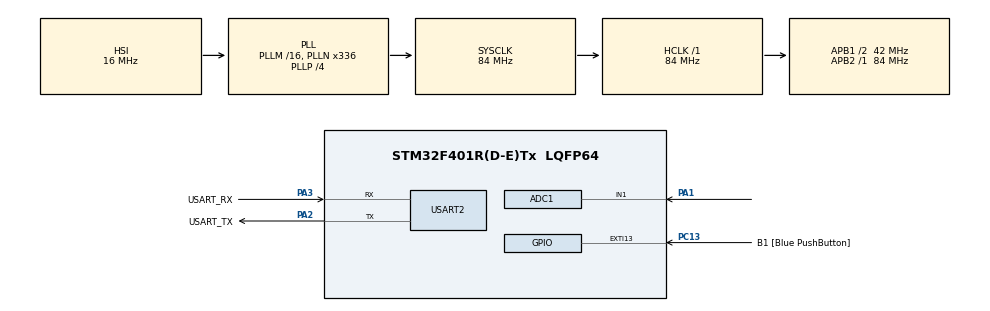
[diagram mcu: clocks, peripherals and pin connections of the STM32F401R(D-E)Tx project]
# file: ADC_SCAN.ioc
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ADC1.Channel-0\#ChannelRegularConversion=ADC_CHANNEL_1
ADC1.Channel-1\#ChannelRegularConversion=ADC_CHANNEL_TEMPSENSOR
ADC1.Channel-2\#ChannelRegularConversion=ADC_CHANNEL_VREFINT
ADC1.ContinuousConvMode=ENABLE
ADC1.DMAContinuousRequests=ENABLE
ADC1.ExternalTrigConv=ADC_EXTERNALTRIGCONV_T3_TRGO
ADC1.InjNumberOfConversion=0
ADC1.NbrOfConversion=3
ADC1.NbrOfConversionFlag=1
ADC1.Rank-0\#ChannelRegularConversion=1
ADC1.Rank-1\#ChannelRegularConversion=2
ADC1.Rank-2\#ChannelRegularConversion=3
ADC1.SamplingTime-0\#ChannelRegularConversion=ADC_SAMPLETIME_480CYCLES
ADC1.SamplingTime-1\#ChannelRegularConversion=ADC_SAMPLETIME_480CYCLES
ADC1.SamplingTime-2\#ChannelRegularConversion=ADC_SAMPLETIME_480CYCLES
ADC1.ScanConvMode=ENABLE
ADC1.master=1
Dma.ADC1.0.Direction=DMA_PERIPH_TO_MEMORY
Dma.ADC1.0.FIFOMode=DMA_FIFOMODE_DISABLE
Dma.ADC1.0.Instance=DMA2_Stream0
Dma.ADC1.0.MemDataAlignment=DMA_MDATAALIGN_HALFWORD
Dma.ADC1.0.MemInc=DMA_MINC_ENABLE
Dma.ADC1.0.Mode=DMA_CIRCULAR
Dma.ADC1.0.PeriphDataAlignment=DMA_PDATAALIGN_HALFWORD
Dma.ADC1.0.PeriphInc=DMA_PINC_DISABLE
Dma.ADC1.0.Priority=DMA_PRIORITY_LOW
Dma.Request0=ADC1
Mcu.Family=STM32F4
Mcu.Name=STM32F401R(D-E)Tx
Mcu.Package=LQFP64
NVIC.ADC_IRQn=true\:0\:0\:false\:false\:true\:true\:true\:true
NVIC.DMA2_Stream0_IRQn=true\:0\:0\:false\:false\:true\:false\:true\:true
NVIC.PriorityGroup=NVIC_PRIORITYGROUP_4
NVIC.USART2_IRQn=true\:0\:0\:false\:false\:true\:true\:true\:true
PA1.Signal=ADCx_IN1
PA13.GPIO_Label=TMS
PA13.Mode=Trace_Asynchronous_SW
PA13.Signal=SYS_JTMS-SWDIO
PA14.GPIO_Label=TCK
PA14.Mode=Trace_Asynchronous_SW
PA14.Signal=SYS_JTCK-SWCLK
PA2.GPIO_Label=USART_TX
PA2.GPIO_Mode=GPIO_MODE_AF_PP
PA2.GPIO_PuPd=GPIO_NOPULL
PA2.GPIO_Speed=GPIO_SPEED_FREQ_LOW
PA2.Mode=Asynchronous
PA2.Signal=USART2_TX
PA3.GPIO_Label=USART_RX
PA3.GPIO_Mode=GPIO_MODE_AF_PP
PA3.GPIO_PuPd=GPIO_NOPULL
PA3.GPIO_Speed=GPIO_SPEED_FREQ_LOW
PA3.Mode=Asynchronous
PA3.Signal=USART2_RX
PB3.GPIO_Label=SWO
PB3.Mode=Trace_Asynchronous_SW
PB3.Signal=SYS_JTDO-SWO
PC13-ANTI_TAMP.GPIO_Label=B1 [Blue PushButton]
PC13-ANTI_TAMP.GPIO_ModeDefaultEXTI=GPIO_MODE_IT_FALLING
PC13-ANTI_TAMP.GPIO_PuPd=GPIO_NOPULL
PC13-ANTI_TAMP.Signal=GPXTI13
PC14-OSC32_IN.Mode=LSE-External-Oscillator
PC14-OSC32_IN.Signal=RCC_OSC32_IN
PC15-OSC32_OUT.Mode=LSE-External-Oscillator
PC15-OSC32_OUT.Signal=RCC_OSC32_OUT
PH0\ -\ OSC_IN.Mode=HSE-External-Clock-Source
PH0\ -\ OSC_IN.Signal=RCC_OSC_IN
PH1\ -\ OSC_OUT.Mode=HSE-External-Clock-Source
PH1\ -\ OSC_OUT.Signal=RCC_OSC_OUT
ProjectManager.HeapSize=0x200
ProjectManager.StackSize=0x400
ProjectManager.TargetToolchain=STM32CubeIDE
RCC.48MHZClocksFreq_Value=48000000
RCC.AHBFreq_Value=84000000
RCC.APB1CLKDivider=RCC_HCLK_DIV2
RCC.APB1Freq_Value=42000000
RCC.APB1TimFreq_Value=84000000
RCC.APB2Freq_Value=84000000
RCC.APB2TimFreq_Value=84000000
RCC.CortexFreq_Value=84000000
RCC.HCLKFreq_Value=84000000
RCC.HSE_VALUE=8000000
RCC.HSI_VALUE=16000000
RCC.PLLN=336
RCC.PLLP=RCC_PLLP_DIV4
RCC.PLLQ=7
RCC.SYSCLKFreq_VALUE=84000000
RCC.SYSCLKSource=RCC_SYSCLKSOURCE_PLLCLK
RCC.VCOOutputFreq_Value=336000000
SH.ADCx_IN1.0=ADC1_IN1,IN1
TIM3.Period=9999
TIM3.Prescaler=8399
TIM3.TIM_MasterOutputTrigger=TIM_TRGO_UPDATE
USART2.VirtualMode=VM_ASYNC
VP_ADC1_TempSens_Input.Mode=IN-TempSens
VP_ADC1_Vref_Input.Mode=IN-Vrefint
VP_TIM3_VS_ClockSourceINT.Mode=Internal
board=NUCLEO-F401RE

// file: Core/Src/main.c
/* USER CODE BEGIN Header */
/**
  ******************************************************************************
  * @file           : main.c
  * @brief          : Main program body
  ******************************************************************************
  * @attention
  *
  * Copyright (c) 2025 STMicroelectronics.
  * All rights reserved.
  *
  * This software is licensed under terms that can be found in the LICENSE file
  * in the root directory of this software component.
  * If no LICENSE file comes with this software, it is provided AS-IS.
  *
  ******************************************************************************
  */
/* USER CODE END Header */
#include "main.h"

/* USER CODE BEGIN Includes */
#include <string.h>
#include "stdio.h"
/* USER CODE END Includes */

/* USER CODE BEGIN PD */
#define ACQUISITIONS 3
#define VDDA 3.3
#define VSSA 0
#define RESOLUTION_BITS 12
#define V25 0.76
#define AVG_SLOPE 0.0025

/* USER CODE END PD */

ADC_HandleTypeDef hadc1;
DMA_HandleTypeDef hdma_adc1;

TIM_HandleTypeDef htim3;

UART_HandleTypeDef huart2;

void SystemClock_Config(void);
static void MX_GPIO_Init(void);
static void MX_DMA_Init(void);
static void MX_USART2_UART_Init(void);
static void MX_ADC1_Init(void);
static void MX_TIM3_Init(void);

/* USER CODE BEGIN 0 */
float FSR;

float RESOLUTION_STEP;
uint16_t voltages[ACQUISITIONS];

void HAL_ADC_ConvCpltCallback(ADC_HandleTypeDef* hadc)
{
    // Calculations are correct assuming Vref is VDDA/FSR for all conversions
    float vpot = voltages[0]*VDDA/RESOLUTION_STEP;
    float vtemp = ((voltages[1]*FSR/RESOLUTION_STEP)-V25)/AVG_SLOPE +25 ;
    float vrefint = voltages[2]*FSR/RESOLUTION_STEP;

    static char string[74];
    // Use the calculated float variables here (vpot, vtemp, vrefint)
    int len = snprintf(string, sizeof(string), "Potentiometer: %.3f V, Temp: %.3f degC, Vref: %.3f V\r\n", vpot, vtemp, vrefint);

    // Use the actual length (len) for transmission
    HAL_UART_Transmit_DMA(&huart2, (uint8_t*)string, len);
}
/* USER CODE END 0 */

int main(void)
{

  /* MCU Configuration--------------------------------------------------------*/

  /* Reset of all peripherals, Initializes the Flash interface and the Systick. */
  HAL_Init();

  /* Configure the system clock */
  SystemClock_Config();

  /* Initialize all configured peripherals */
  MX_GPIO_Init();
  MX_DMA_Init();
  MX_USART2_UART_Init();
  MX_ADC1_Init();
  MX_TIM3_Init();
  /* USER CODE BEGIN 2 */

  FSR = VDDA - VSSA;

  RESOLUTION_STEP = (1) << RESOLUTION_BITS;

HAL_TIM_Base_Start(&htim3);
HAL_ADC_Start_DMA(&hadc1, voltages, ACQUISITIONS);
  /* USER CODE END 2 */

  /* Infinite loop */
  while (1)
  {

  }
}

void SystemClock_Config(void)
{
  RCC_OscInitTypeDef RCC_OscInitStruct = {0};
  RCC_ClkInitTypeDef RCC_ClkInitStruct = {0};

  /** Configure the main internal regulator output voltage
  */
  __HAL_RCC_PWR_CLK_ENABLE();
  __HAL_PWR_VOLTAGESCALING_CONFIG(PWR_REGULATOR_VOLTAGE_SCALE2);

  /** Initializes the RCC Oscillators according to the specified parameters
  * in the RCC_OscInitTypeDef structure.
  */
  RCC_OscInitStruct.OscillatorType = RCC_OSCILLATORTYPE_HSI;
  RCC_OscInitStruct.HSIState = RCC_HSI_ON;
  RCC_OscInitStruct.HSICalibrationValue = RCC_HSICALIBRATION_DEFAULT;
  RCC_OscInitStruct.PLL.PLLState = RCC_PLL_ON;
  RCC_OscInitStruct.PLL.PLLSource = RCC_PLLSOURCE_HSI;
  RCC_OscInitStruct.PLL.PLLM = 16;
  RCC_OscInitStruct.PLL.PLLN = 336;
  RCC_OscInitStruct.PLL.PLLP = RCC_PLLP_DIV4;
  RCC_OscInitStruct.PLL.PLLQ = 7;
  if (HAL_RCC_OscConfig(&RCC_OscInitStruct) != HAL_OK)
  {
    Error_Handler();
  }

  /** Initializes the CPU, AHB and APB buses clocks
  */
  RCC_ClkInitStruct.ClockType = RCC_CLOCKTYPE_HCLK|RCC_CLOCKTYPE_SYSCLK
                              |RCC_CLOCKTYPE_PCLK1|RCC_CLOCKTYPE_PCLK2;
  RCC_ClkInitStruct.SYSCLKSource = RCC_SYSCLKSOURCE_PLLCLK;
  RCC_ClkInitStruct.AHBCLKDivider = RCC_SYSCLK_DIV1;
  RCC_ClkInitStruct.APB1CLKDivider = RCC_HCLK_DIV2;
  RCC_ClkInitStruct.APB2CLKDivider = RCC_HCLK_DIV1;

  if (HAL_RCC_ClockConfig(&RCC_ClkInitStruct, FLASH_LATENCY_2) != HAL_OK)
  {
    Error_Handler();
  }
}

static void MX_ADC1_Init(void)
{

  ADC_ChannelConfTypeDef sConfig = {0};

  /** Configure the global features of the ADC (Clock, Resolution, Data Alignment and number of conversion)
  */
  hadc1.Instance = ADC1;
  hadc1.Init.ClockPrescaler = ADC_CLOCK_SYNC_PCLK_DIV4;
  hadc1.Init.Resolution = ADC_RESOLUTION_12B;
  hadc1.Init.ScanConvMode = ENABLE;
  hadc1.Init.ContinuousConvMode = ENABLE;
  hadc1.Init.DiscontinuousConvMode = DISABLE;
  hadc1.Init.ExternalTrigConvEdge = ADC_EXTERNALTRIGCONVEDGE_RISING;
  hadc1.Init.ExternalTrigConv = ADC_EXTERNALTRIGCONV_T3_TRGO;
  hadc1.Init.DataAlign = ADC_DATAALIGN_RIGHT;
  hadc1.Init.NbrOfConversion = 3;
  hadc1.Init.DMAContinuousRequests = ENABLE;
  hadc1.Init.EOCSelection = ADC_EOC_SINGLE_CONV;
  if (HAL_ADC_Init(&hadc1) != HAL_OK)
  {
    Error_Handler();
  }

  /** Configure for the selected ADC regular channel its corresponding rank in the sequencer and its sample time.
  */
  sConfig.Channel = ADC_CHANNEL_1;
  sConfig.Rank = 1;
  sConfig.SamplingTime = ADC_SAMPLETIME_480CYCLES;
  if (HAL_ADC_ConfigChannel(&hadc1, &sConfig) != HAL_OK)
  {
    Error_Handler();
  }

  /** Configure for the selected ADC regular channel its corresponding rank in the sequencer and its sample time.
  */
  sConfig.Channel = ADC_CHANNEL_TEMPSENSOR;
  sConfig.Rank = 2;
  if (HAL_ADC_ConfigChannel(&hadc1, &sConfig) != HAL_OK)
  {
    Error_Handler();
  }

  /** Configure for the selected ADC regular channel its corresponding rank in the sequencer and its sample time.
  */
  sConfig.Channel = ADC_CHANNEL_VREFINT;
  sConfig.Rank = 3;
  if (HAL_ADC_ConfigChannel(&hadc1, &sConfig) != HAL_OK)
  {
    Error_Handler();
  }

}

static void MX_TIM3_Init(void)
{

  TIM_ClockConfigTypeDef sClockSourceConfig = {0};
  TIM_MasterConfigTypeDef sMasterConfig = {0};

  htim3.Instance = TIM3;
  htim3.Init.Prescaler = 8399;
  htim3.Init.CounterMode = TIM_COUNTERMODE_UP;
  htim3.Init.Period = 9999;
  htim3.Init.ClockDivision = TIM_CLOCKDIVISION_DIV1;
  htim3.Init.AutoReloadPreload = TIM_AUTORELOAD_PRELOAD_DISABLE;
  if (HAL_TIM_Base_Init(&htim3) != HAL_OK)
  {
    Error_Handler();
  }
  sClockSourceConfig.ClockSource = TIM_CLOCKSOURCE_INTERNAL;
  if (HAL_TIM_ConfigClockSource(&htim3, &sClockSourceConfig) != HAL_OK)
  {
    Error_Handler();
  }
  sMasterConfig.MasterOutputTrigger = TIM_TRGO_UPDATE;
  sMasterConfig.MasterSlaveMode = TIM_MASTERSLAVEMODE_DISABLE;
  if (HAL_TIMEx_MasterConfigSynchronization(&htim3, &sMasterConfig) != HAL_OK)
  {
    Error_Handler();
  }

}

static void MX_USART2_UART_Init(void)
{

  huart2.Instance = USART2;
  huart2.Init.BaudRate = 115200;
  huart2.Init.WordLength = UART_WORDLENGTH_8B;
  huart2.Init.StopBits = UART_STOPBITS_1;
  huart2.Init.Parity = UART_PARITY_NONE;
  huart2.Init.Mode = UART_MODE_TX_RX;
  huart2.Init.HwFlowCtl = UART_HWCONTROL_NONE;
  huart2.Init.OverSampling = UART_OVERSAMPLING_16;
  if (HAL_UART_Init(&huart2) != HAL_OK)
  {
    Error_Handler();
  }

}

static void MX_DMA_Init(void)
{

  /* DMA controller clock enable */
  __HAL_RCC_DMA2_CLK_ENABLE();
  __HAL_RCC_DMA1_CLK_ENABLE();
  /* DMA interrupt init */
  /* DMA2_Stream0_IRQn interrupt configuration */
  HAL_NVIC_SetPriority(DMA2_Stream0_IRQn, 0, 0);
  HAL_NVIC_EnableIRQ(DMA2_Stream0_IRQn);
  /* DMA1_Stream6_IRQn interrupt configuration (UART2 TX) */
    /* You MUST enable this for HAL_UART_Transmit_DMA to work correctly */
    HAL_NVIC_SetPriority(DMA1_Stream6_IRQn, 0, 0);
    HAL_NVIC_EnableIRQ(DMA1_Stream6_IRQn);
}

static void MX_GPIO_Init(void)
{
  GPIO_InitTypeDef GPIO_InitStruct = {0};

  /* GPIO Ports Clock Enable */
  __HAL_RCC_GPIOC_CLK_ENABLE();
  __HAL_RCC_GPIOH_CLK_ENABLE();
  __HAL_RCC_GPIOA_CLK_ENABLE();
  __HAL_RCC_GPIOB_CLK_ENABLE();

  /*Configure GPIO pin : B1_Pin */
  GPIO_InitStruct.Pin = B1_Pin;
  GPIO_InitStruct.Mode = GPIO_MODE_IT_FALLING;
  GPIO_InitStruct.Pull = GPIO_NOPULL;
  HAL_GPIO_Init(B1_GPIO_Port, &GPIO_InitStruct);

}

void Error_Handler(void)
{
  __disable_irq();
  while (1)
  {
  }
}
